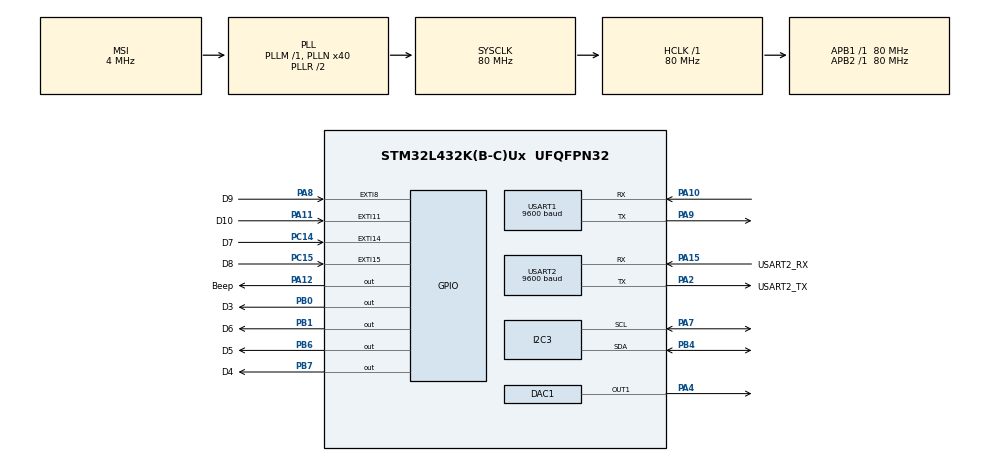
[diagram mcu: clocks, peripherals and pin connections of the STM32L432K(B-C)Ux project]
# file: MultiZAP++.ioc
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DAC1.DAC_Trigger-DAC_OUT1_ExtAndInt=DAC_TRIGGER_T6_TRGO
Dma.DAC_CH1.0.Direction=DMA_MEMORY_TO_PERIPH
Dma.DAC_CH1.0.Instance=DMA1_Channel3
Dma.DAC_CH1.0.MemDataAlignment=DMA_MDATAALIGN_HALFWORD
Dma.DAC_CH1.0.MemInc=DMA_MINC_ENABLE
Dma.DAC_CH1.0.Mode=DMA_CIRCULAR
Dma.DAC_CH1.0.PeriphDataAlignment=DMA_PDATAALIGN_HALFWORD
Dma.DAC_CH1.0.PeriphInc=DMA_PINC_DISABLE
Dma.DAC_CH1.0.Priority=DMA_PRIORITY_LOW
Dma.Request0=DAC_CH1
I2C3.Timing=0x10909CEC
Mcu.Family=STM32L4
Mcu.Name=STM32L432K(B-C)Ux
Mcu.Package=UFQFPN32
NVIC.DMA1_Channel3_IRQn=true\:0\:0\:false\:false\:true\:false\:true
NVIC.PriorityGroup=NVIC_PRIORITYGROUP_4
NVIC.TIM6_DAC_IRQn=true\:0\:0\:false\:false\:true\:true\:true
NVIC.TIM7_IRQn=true\:0\:0\:false\:false\:true\:true\:true
NVIC.USART1_IRQn=true\:0\:0\:false\:false\:true\:true\:true
NVIC.USART2_IRQn=true\:0\:0\:false\:false\:true\:true\:true
PA0.Mode=HSE-External-Clock-Source-for-LittleOrca
PA0.Signal=RCC_CK_IN
PA10.Mode=Asynchronous
PA10.Signal=USART1_RX
PA11.GPIO_Label=D10
PA11.GPIO_ModeDefaultEXTI=GPIO_MODE_IT_RISING
PA11.GPIO_PuPd=GPIO_PULLDOWN
PA11.Signal=GPXTI11
PA12.GPIO_Label=Beep
PA12.Signal=GPIO_Output
PA13\ (JTMS-SWDIO).Mode=Serial_Wire
PA13\ (JTMS-SWDIO).Signal=SYS_JTMS-SWDIO
PA14\ (JTCK-SWCLK).Mode=Serial_Wire
PA14\ (JTCK-SWCLK).Signal=SYS_JTCK-SWCLK
PA15\ (JTDI).GPIO_Label=USART2_RX
PA15\ (JTDI).Mode=Asynchronous
PA15\ (JTDI).Signal=USART2_RX
PA2.GPIO_Label=USART2_TX
PA2.Mode=Asynchronous
PA2.Signal=USART2_TX
PA4.Signal=COMP_DAC11_group
PA7.Mode=I2C
PA7.Signal=I2C3_SCL
PA8.GPIO_Label=D9
PA8.GPIO_ModeDefaultEXTI=GPIO_MODE_IT_RISING
PA8.GPIO_PuPd=GPIO_PULLDOWN
PA8.Signal=GPXTI8
PA9.Mode=Asynchronous
PA9.Signal=USART1_TX
PB0.GPIO_Label=D3
PB0.GPIO_ModeDefaultOutputPP=GPIO_MODE_OUTPUT_PP
PB0.GPIO_PuPd=GPIO_PULLUP
PB0.GPIO_Speed=GPIO_SPEED_FREQ_LOW
PB0.PinState=GPIO_PIN_RESET
PB0.Signal=GPIO_Output
PB1.GPIO_Label=D6
PB1.GPIO_ModeDefaultOutputPP=GPIO_MODE_OUTPUT_PP
PB1.GPIO_PuPd=GPIO_PULLUP
PB1.GPIO_Speed=GPIO_SPEED_FREQ_LOW
PB1.PinState=GPIO_PIN_RESET
PB1.Signal=GPIO_Output
PB4\ (NJTRST).Mode=I2C
PB4\ (NJTRST).Signal=I2C3_SDA
PB6.GPIO_FM6=__NULL
PB6.GPIO_Label=D5
PB6.GPIO_ModeDefaultOutputPP=GPIO_MODE_OUTPUT_PP
PB6.GPIO_PuPd=GPIO_PULLUP
PB6.GPIO_Speed=GPIO_SPEED_FREQ_LOW
PB6.PinState=GPIO_PIN_RESET
PB6.Signal=GPIO_Output
PB7.GPIO_FM7=__NULL
PB7.GPIO_Label=D4
PB7.GPIO_ModeDefaultOutputPP=GPIO_MODE_OUTPUT_PP
PB7.GPIO_PuPd=GPIO_PULLUP
PB7.GPIO_Speed=GPIO_SPEED_FREQ_LOW
PB7.PinState=GPIO_PIN_RESET
PB7.Signal=GPIO_Output
PC14-OSC32_IN\ (PC14).GPIO_Label=D7
PC14-OSC32_IN\ (PC14).GPIO_PuPd=GPIO_PULLDOWN
PC14-OSC32_IN\ (PC14).Signal=GPXTI14
PC15-OSC32_OUT\ (PC15).GPIO_Label=D8
PC15-OSC32_OUT\ (PC15).GPIO_PuPd=GPIO_PULLDOWN
PC15-OSC32_OUT\ (PC15).Signal=GPXTI15
ProjectManager.HeapSize=0x200
ProjectManager.StackSize=0x400
ProjectManager.TargetToolchain=SW4STM32
RCC.ADCFreq_Value=48000000
RCC.AHBFreq_Value=80000000
RCC.APB1Freq_Value=80000000
RCC.APB1TimFreq_Value=80000000
RCC.APB2Freq_Value=80000000
RCC.APB2TimFreq_Value=80000000
RCC.CortexFreq_Value=80000000
RCC.HCLKFreq_Value=80000000
RCC.HSE_VALUE=8000000
RCC.HSI48_VALUE=48000000
RCC.HSI_VALUE=16000000
RCC.LSE_VALUE=32768
RCC.MSI_VALUE=4000000
RCC.PLLN=40
RCC.PLLSAI1N=24
RCC.SYSCLKFreq_VALUE=80000000
RCC.SYSCLKSource=RCC_SYSCLKSOURCE_PLLCLK
RCC.USBFreq_Value=48000000
RCC.VCOOutputFreq_Value=160000000
SH.COMP_DAC11_group.0=DAC1_OUT1,DAC_OUT1_ExtAndInt
TIM6.Period=100-1
TIM6.Prescaler=32-1
TIM6.TIM_MasterOutputTrigger=TIM_TRGO_UPDATE
TIM7.AutoReloadPreload=TIM_AUTORELOAD_PRELOAD_DISABLE
TIM7.Period=20000-1
TIM7.Prescaler=80-1
TIM7.TIM_MasterOutputTrigger=TIM_TRGO_RESET
USART1.BaudRate=9600
USART1.VirtualMode-Asynchronous=VM_ASYNC
USART2.BaudRate=9600
USART2.DMADisableonRxErrorParam=ADVFEATURE_DMA_ENABLEONRXERROR
USART2.OneBitSampling=UART_ONE_BIT_SAMPLE_DISABLE
USART2.OverrunDisableParam=ADVFEATURE_OVERRUN_ENABLE
USART2.SwapParam=ADVFEATURE_SWAP_DISABLE
USART2.VirtualMode-Asynchronous=VM_ASYNC
VP_TIM6_VS_ClockSourceINT.Mode=Enable_Timer
VP_TIM7_VS_ClockSourceINT.Mode=Enable_Timer
board=custom

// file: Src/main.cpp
/* USER CODE BEGIN Header */
/**
  ******************************************************************************
  * @file           : main.c
  * @brief          : Main program body
  ******************************************************************************
  * @attention
  *
  * <h2><center>&copy; Copyright (c) 2020 STMicroelectronics.
  * All rights reserved.</center></h2>
  *
  * This software component is licensed by ST under BSD 3-Clause license,
  * the "License"; You may not use this file except in compliance with the
  * License. You may obtain a copy of the License at:
  *                        opensource.org/licenses/BSD-3-Clause
  *
  ******************************************************************************
  */
/* USER CODE END Header */

#include "main.h"

/* USER CODE BEGIN Includes */
#include <string>
using namespace std;

#include "keypad.h"
#include "i2c_lcd.h"
#include "biozap_comm.h"
#include "biozap_prog.h"
#include "biozap_freq.h"
/* USER CODE END Includes */

DAC_HandleTypeDef hdac1;
DMA_HandleTypeDef hdma_dac_ch1;

I2C_HandleTypeDef hi2c3;

TIM_HandleTypeDef htim6;
TIM_HandleTypeDef htim7;

UART_HandleTypeDef huart1;
UART_HandleTypeDef huart2;

/* USER CODE BEGIN PV */
extern string EOL;
string uart_welcome_str = EOL+"multiZAP++ welcome !"+EOL+">";
string lcd_msg = "multiZAP++";
bool Keypad_withIT = true;

extern uint8_t rx_data;
extern volatile bool command_arrived;
extern uint8_t rx1_data;
extern volatile bool command1_arrived;

extern uint32_t __userData_start__; // from the linkerscript
extern uint32_t __Flash_PageSize__; // from the linkerscript
extern uint32_t g_pfnVectors[];  // true array (vector table of all ISRs), from the startup assembly .s file
uint32_t FLASH_START = (uint32_t)&g_pfnVectors[0]; // Get the address of the first element of this array and cast it to a 4-byte unsigned integer
uint32_t FLASH_STORAGE = (uint32_t)&__userData_start__;
uint32_t PAGE_SIZE = (uint32_t)& __Flash_PageSize__;

char *eeprom_Data_Chr   = (char*)FLASH_STORAGE;
/* USER CODE END PV */

void SystemClock_Config(void);
static void MX_GPIO_Init(void);
static void MX_DMA_Init(void);
static void MX_DAC1_Init(void);
static void MX_USART2_UART_Init(void);
static void MX_TIM6_Init(void);
static void MX_USART1_UART_Init(void);
static void MX_I2C3_Init(void);
static void MX_TIM7_Init(void);

/* USER CODE BEGIN 0 */
void read_flash(string *data)
{
	volatile uint32_t read_data;
	volatile uint32_t read_cnt=0;
	do
	{
		read_data = *(uint32_t*)(FLASH_STORAGE + read_cnt);
		if(read_data != 0xFFFFFFFF)
		{
			*data += (char)read_data;
			*data += (char)(read_data >>  8);
			*data += (char)(read_data >> 16);
			*data += (char)(read_data >> 24);
			read_cnt += 4;
		}
	}while((read_data != 0xFFFFFFFF) && (read_cnt < PAGE_SIZE-1));
	while( (data->length() > 0) && (data->at(data->length()-1) != '\n') ) {
		data->pop_back();		// Delete any extra char before ending LF
	}
}

void save_to_flash(const program data)
{
	  volatile uint32_t data_length = (data.item.length() / 8) + (int)((data.item.length() % 8) != 0);
	  volatile uint64_t data_to_FLASH[data_length];
	  memset((uint8_t*)data_to_FLASH, 0, sizeof((char*)data_to_FLASH));
	  strcpy((char*)data_to_FLASH, data.item.c_str());

	  HAL_FLASH_Unlock();
	  FLASH_EraseInitTypeDef EraseInitStruct;
	  EraseInitStruct.TypeErase = FLASH_TYPEERASE_PAGES;
	  EraseInitStruct.Page = (FLASH_STORAGE-FLASH_START)/PAGE_SIZE;
	  volatile uint16_t pages = (data.item.length()/PAGE_SIZE) + (int)((data.item.length()%PAGE_SIZE) != 0);
	  EraseInitStruct.NbPages = pages;
	  uint32_t PageError;
	  volatile HAL_StatusTypeDef status;
	  if(HAL_FLASHEx_Erase(&EraseInitStruct, &PageError) != HAL_OK){
		  Error_Handler();
		  return;
	  }

	  volatile uint32_t write_cnt=0, index=0;
	  while(index < data_length) {
		  status = HAL_FLASH_Program(FLASH_TYPEPROGRAM_DOUBLEWORD, FLASH_STORAGE+write_cnt, data_to_FLASH[index]);
		  if(status == HAL_OK) {
			  write_cnt += 8;
			  index++;
		  }
		  else {
			  Error_Handler();
			  return;
		  }
	  }
	  HAL_FLASH_Lock();
}

/* USER CODE END 0 */

int main(void)
{

  /* MCU Configuration--------------------------------------------------------*/

  /* Reset of all peripherals, Initializes the Flash interface and the Systick. */
  HAL_Init();

  /* Configure the system clock */
  SystemClock_Config();

  /* Initialize all configured peripherals */
  MX_GPIO_Init();
  MX_DMA_Init();
  MX_DAC1_Init();
  MX_USART2_UART_Init();
  MX_TIM6_Init();
  MX_USART1_UART_Init();
  MX_I2C3_Init();
  MX_TIM7_Init();
  /* USER CODE BEGIN 2 */
  uart_TX_IT(&huart2, uart_welcome_str);  // Welcome string to Serial
  HAL_UART_Receive_IT(&huart2, &rx_data, 1);  // Serial2 receive starting.
  uart_TX_IT(&huart1, uart_welcome_str);  // Welcome string to Serial
  HAL_UART_Receive_IT(&huart1, &rx1_data, 1);  // Serial2 receive starting.

/*
    const program userProgram = {
    		"#Earth rhythm 8m\n"
  		"wait 3000\n"
  		"beep 100\n"
  		"freq 783 480\n"
  		"beep 500\n"
  		"off\n"
    };
    save_to_flash(userProgram); // If userProgram too big change the DATA size,
    														// now 2k the size in the STM32L432KCUx_FLASH.ld !!!
*/
  extern string user_Program;
  read_flash(&user_Program);

  init_LCD(&hi2c3, &huart2);
  init_Keypad(Keypad_withIT, &htim7); // Keypad init with interrupt routines or polling

  /* USER CODE END 2 */

  /* Infinite loop */
  while (1)
  {

    /* USER CODE BEGIN 3 */
    	  if (command_arrived ) {
    		  command_arrived = false;
    		  Cmd_Interpreter(&huart2, &hdac1, &htim6);  // Comm uart2, Signal with hdac1 & htim6
    	  }
    	  if (command1_arrived ) {
    		  command1_arrived = false;
    		  Cmd_Interpreter(&huart1, &hdac1, &htim6);  // Comm uart2, Signal with hdac1 & htim6
    	  }
      uint8_t actKey = 	KeypadGetKey(Keypad_withIT); // Get key with interrupt or with polling
  	  if (actKey != KEYPAD_NO_PRESSED) {
  	  	  LCD_SendCommand(&hi2c3, LCD_ADDR, 0b11000000);
  	  	  string keystr = "";
  	  	  keystr += actKey;
  		  LCD_SendString(&hi2c3, LCD_ADDR, keystr);

  		  uart_TX_IT(&huart2, keystr+EOL+">");
  	  }

  }
  /* USER CODE END 3 */
}

void SystemClock_Config(void)
{
  RCC_OscInitTypeDef RCC_OscInitStruct = {0};
  RCC_ClkInitTypeDef RCC_ClkInitStruct = {0};
  RCC_PeriphCLKInitTypeDef PeriphClkInit = {0};

  /** Initializes the CPU, AHB and APB busses clocks
  */
  RCC_OscInitStruct.OscillatorType = RCC_OSCILLATORTYPE_MSI;
  RCC_OscInitStruct.MSIState = RCC_MSI_ON;
  RCC_OscInitStruct.MSICalibrationValue = 0;
  RCC_OscInitStruct.MSIClockRange = RCC_MSIRANGE_6;
  RCC_OscInitStruct.PLL.PLLState = RCC_PLL_ON;
  RCC_OscInitStruct.PLL.PLLSource = RCC_PLLSOURCE_MSI;
  RCC_OscInitStruct.PLL.PLLM = 1;
  RCC_OscInitStruct.PLL.PLLN = 40;
  RCC_OscInitStruct.PLL.PLLP = RCC_PLLP_DIV7;
  RCC_OscInitStruct.PLL.PLLQ = RCC_PLLQ_DIV2;
  RCC_OscInitStruct.PLL.PLLR = RCC_PLLR_DIV2;
  if (HAL_RCC_OscConfig(&RCC_OscInitStruct) != HAL_OK)
  {
    Error_Handler();
  }
  /** Initializes the CPU, AHB and APB busses clocks
  */
  RCC_ClkInitStruct.ClockType = RCC_CLOCKTYPE_HCLK|RCC_CLOCKTYPE_SYSCLK
                              |RCC_CLOCKTYPE_PCLK1|RCC_CLOCKTYPE_PCLK2;
  RCC_ClkInitStruct.SYSCLKSource = RCC_SYSCLKSOURCE_PLLCLK;
  RCC_ClkInitStruct.AHBCLKDivider = RCC_SYSCLK_DIV1;
  RCC_ClkInitStruct.APB1CLKDivider = RCC_HCLK_DIV1;
  RCC_ClkInitStruct.APB2CLKDivider = RCC_HCLK_DIV1;

  if (HAL_RCC_ClockConfig(&RCC_ClkInitStruct, FLASH_LATENCY_4) != HAL_OK)
  {
    Error_Handler();
  }
  PeriphClkInit.PeriphClockSelection = RCC_PERIPHCLK_USART1|RCC_PERIPHCLK_USART2
                              |RCC_PERIPHCLK_I2C3;
  PeriphClkInit.Usart1ClockSelection = RCC_USART1CLKSOURCE_PCLK2;
  PeriphClkInit.Usart2ClockSelection = RCC_USART2CLKSOURCE_PCLK1;
  PeriphClkInit.I2c3ClockSelection = RCC_I2C3CLKSOURCE_PCLK1;
  if (HAL_RCCEx_PeriphCLKConfig(&PeriphClkInit) != HAL_OK)
  {
    Error_Handler();
  }
  /** Configure the main internal regulator output voltage
  */
  if (HAL_PWREx_ControlVoltageScaling(PWR_REGULATOR_VOLTAGE_SCALE1) != HAL_OK)
  {
    Error_Handler();
  }
}

static void MX_DAC1_Init(void)
{

  DAC_ChannelConfTypeDef sConfig = {0};

  /** DAC Initialization
  */
  hdac1.Instance = DAC1;
  if (HAL_DAC_Init(&hdac1) != HAL_OK)
  {
    Error_Handler();
  }
  /** DAC channel OUT1 config
  */
  sConfig.DAC_SampleAndHold = DAC_SAMPLEANDHOLD_DISABLE;
  sConfig.DAC_Trigger = DAC_TRIGGER_T6_TRGO;
  sConfig.DAC_OutputBuffer = DAC_OUTPUTBUFFER_ENABLE;
  sConfig.DAC_ConnectOnChipPeripheral = DAC_CHIPCONNECT_ENABLE;
  sConfig.DAC_UserTrimming = DAC_TRIMMING_FACTORY;
  if (HAL_DAC_ConfigChannel(&hdac1, &sConfig, DAC_CHANNEL_1) != HAL_OK)
  {
    Error_Handler();
  }

}

static void MX_I2C3_Init(void)
{

  hi2c3.Instance = I2C3;
  hi2c3.Init.Timing = 0x10909CEC;
  hi2c3.Init.OwnAddress1 = 0;
  hi2c3.Init.AddressingMode = I2C_ADDRESSINGMODE_7BIT;
  hi2c3.Init.DualAddressMode = I2C_DUALADDRESS_DISABLE;
  hi2c3.Init.OwnAddress2 = 0;
  hi2c3.Init.OwnAddress2Masks = I2C_OA2_NOMASK;
  hi2c3.Init.GeneralCallMode = I2C_GENERALCALL_DISABLE;
  hi2c3.Init.NoStretchMode = I2C_NOSTRETCH_DISABLE;
  if (HAL_I2C_Init(&hi2c3) != HAL_OK)
  {
    Error_Handler();
  }
  /** Configure Analogue filter
  */
  if (HAL_I2CEx_ConfigAnalogFilter(&hi2c3, I2C_ANALOGFILTER_ENABLE) != HAL_OK)
  {
    Error_Handler();
  }
  /** Configure Digital filter
  */
  if (HAL_I2CEx_ConfigDigitalFilter(&hi2c3, 0) != HAL_OK)
  {
    Error_Handler();
  }

}

static void MX_TIM6_Init(void)
{

  TIM_MasterConfigTypeDef sMasterConfig = {0};

  htim6.Instance = TIM6;
  htim6.Init.Prescaler = 32-1;
  htim6.Init.CounterMode = TIM_COUNTERMODE_UP;
  htim6.Init.Period = 100-1;
  htim6.Init.AutoReloadPreload = TIM_AUTORELOAD_PRELOAD_DISABLE;
  if (HAL_TIM_Base_Init(&htim6) != HAL_OK)
  {
    Error_Handler();
  }
  sMasterConfig.MasterOutputTrigger = TIM_TRGO_UPDATE;
  sMasterConfig.MasterSlaveMode = TIM_MASTERSLAVEMODE_DISABLE;
  if (HAL_TIMEx_MasterConfigSynchronization(&htim6, &sMasterConfig) != HAL_OK)
  {
    Error_Handler();
  }

}

static void MX_TIM7_Init(void)
{

  TIM_MasterConfigTypeDef sMasterConfig = {0};

  htim7.Instance = TIM7;
  htim7.Init.Prescaler = 80-1;
  htim7.Init.CounterMode = TIM_COUNTERMODE_UP;
  htim7.Init.Period = 20000-1;
  htim7.Init.AutoReloadPreload = TIM_AUTORELOAD_PRELOAD_DISABLE;
  if (HAL_TIM_Base_Init(&htim7) != HAL_OK)
  {
    Error_Handler();
  }
  sMasterConfig.MasterOutputTrigger = TIM_TRGO_RESET;
  sMasterConfig.MasterSlaveMode = TIM_MASTERSLAVEMODE_DISABLE;
  if (HAL_TIMEx_MasterConfigSynchronization(&htim7, &sMasterConfig) != HAL_OK)
  {
    Error_Handler();
  }

}

static void MX_USART1_UART_Init(void)
{

  huart1.Instance = USART1;
  huart1.Init.BaudRate = 9600;
  huart1.Init.WordLength = UART_WORDLENGTH_8B;
  huart1.Init.StopBits = UART_STOPBITS_1;
  huart1.Init.Parity = UART_PARITY_NONE;
  huart1.Init.Mode = UART_MODE_TX_RX;
  huart1.Init.HwFlowCtl = UART_HWCONTROL_NONE;
  huart1.Init.OverSampling = UART_OVERSAMPLING_16;
  huart1.Init.OneBitSampling = UART_ONE_BIT_SAMPLE_DISABLE;
  huart1.AdvancedInit.AdvFeatureInit = UART_ADVFEATURE_NO_INIT;
  if (HAL_UART_Init(&huart1) != HAL_OK)
  {
    Error_Handler();
  }

}

static void MX_USART2_UART_Init(void)
{

  huart2.Instance = USART2;
  huart2.Init.BaudRate = 9600;
  huart2.Init.WordLength = UART_WORDLENGTH_8B;
  huart2.Init.StopBits = UART_STOPBITS_1;
  huart2.Init.Parity = UART_PARITY_NONE;
  huart2.Init.Mode = UART_MODE_TX_RX;
  huart2.Init.HwFlowCtl = UART_HWCONTROL_NONE;
  huart2.Init.OverSampling = UART_OVERSAMPLING_16;
  huart2.Init.OneBitSampling = UART_ONE_BIT_SAMPLE_DISABLE;
  huart2.AdvancedInit.AdvFeatureInit = UART_ADVFEATURE_NO_INIT;
  if (HAL_UART_Init(&huart2) != HAL_OK)
  {
    Error_Handler();
  }

}

static void MX_DMA_Init(void)
{

  /* DMA controller clock enable */
  __HAL_RCC_DMA1_CLK_ENABLE();

  /* DMA interrupt init */
  /* DMA1_Channel3_IRQn interrupt configuration */
  HAL_NVIC_SetPriority(DMA1_Channel3_IRQn, 0, 0);
  HAL_NVIC_EnableIRQ(DMA1_Channel3_IRQn);

}

static void MX_GPIO_Init(void)
{
  GPIO_InitTypeDef GPIO_InitStruct = {0};

  /* GPIO Ports Clock Enable */
  __HAL_RCC_GPIOC_CLK_ENABLE();
  __HAL_RCC_GPIOA_CLK_ENABLE();
  __HAL_RCC_GPIOB_CLK_ENABLE();

  /*Configure GPIO pin Output Level */
  HAL_GPIO_WritePin(GPIOB, D3_Pin|D6_Pin|D5_Pin|D4_Pin, GPIO_PIN_RESET);

  /*Configure GPIO pin Output Level */
  HAL_GPIO_WritePin(Beep_GPIO_Port, Beep_Pin, GPIO_PIN_RESET);

  /*Configure GPIO pins : D7_Pin D8_Pin */
  GPIO_InitStruct.Pin = D7_Pin|D8_Pin;
  GPIO_InitStruct.Mode = GPIO_MODE_IT_RISING;
  GPIO_InitStruct.Pull = GPIO_PULLDOWN;
  HAL_GPIO_Init(GPIOC, &GPIO_InitStruct);

  /*Configure GPIO pins : D3_Pin D6_Pin D5_Pin D4_Pin */
  GPIO_InitStruct.Pin = D3_Pin|D6_Pin|D5_Pin|D4_Pin;
  GPIO_InitStruct.Mode = GPIO_MODE_OUTPUT_PP;
  GPIO_InitStruct.Pull = GPIO_PULLUP;
  GPIO_InitStruct.Speed = GPIO_SPEED_FREQ_LOW;
  HAL_GPIO_Init(GPIOB, &GPIO_InitStruct);

  /*Configure GPIO pins : D9_Pin D10_Pin */
  GPIO_InitStruct.Pin = D9_Pin|D10_Pin;
  GPIO_InitStruct.Mode = GPIO_MODE_IT_RISING;
  GPIO_InitStruct.Pull = GPIO_PULLDOWN;
  HAL_GPIO_Init(GPIOA, &GPIO_InitStruct);

  /*Configure GPIO pin : Beep_Pin */
  GPIO_InitStruct.Pin = Beep_Pin;
  GPIO_InitStruct.Mode = GPIO_MODE_OUTPUT_PP;
  GPIO_InitStruct.Pull = GPIO_NOPULL;
  GPIO_InitStruct.Speed = GPIO_SPEED_FREQ_LOW;
  HAL_GPIO_Init(Beep_GPIO_Port, &GPIO_InitStruct);

}

void Error_Handler(void)
{
}

/************************ (C) COPYRIGHT STMicroelectronics *****END OF FILE****/
